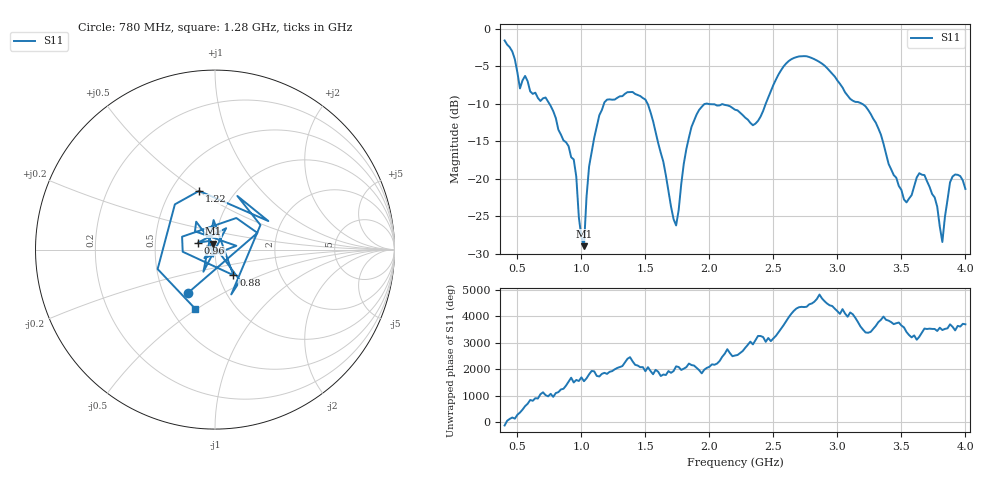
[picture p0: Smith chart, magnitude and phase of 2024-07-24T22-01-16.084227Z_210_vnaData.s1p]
!Created with skrf (http://scikit-rf.org).
# Hz S RI R 50.0
!freq ReS11 ImS11
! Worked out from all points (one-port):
!   181 points, 400 MHz to 4 GHz, reference 50 ohm
!   lowest |S11| = -29.0 dB at 1.02 GHz (marker M1), VSWR 1.07, Z = 48.7 + j3.27 ohm
!   |S11| at or under -10 dB: 1.518 GHz to 1.969 GHz (451.7 MHz wide, 25.9 % of centre); 1.99 GHz to 2.44 GHz (449.9 MHz wide, 20.3 % of centre); 3.193 GHz to end of sweep (the widest 3 of 4)
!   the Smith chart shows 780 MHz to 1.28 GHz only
!   S11 on the Smith chart (normalised r, x): 780 MHz: 0.67, -0.35; 880 MHz: 1.17, -0.34; 960 MHz: 0.82, +0.06; 1.22 GHz: 0.69, +0.51; 1.28 GHz: 0.66, -0.49
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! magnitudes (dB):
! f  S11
! 400 MHz  -1.5
! 520 MHz  -7.9
! 780 MHz  -11.0
! 860 MHz  -14.9
! 880 MHz  -15.1
! 960 MHz  -19.7
! 980 MHz  -25.1
! 1.02 GHz  -29.0
! 1.06 GHz  -18.4
! 1.14 GHz  -11.5
! 1.22 GHz  -9.4
! 1.28 GHz  -9.2
! 1.3 GHz  -9.0
! 1.52 GHz  -10.1
! 1.72 GHz  -25.4
! 1.76 GHz  -24.2
! 1.82 GHz  -16.0
! 1.92 GHz  -10.8
! 2.2 GHz  -10.8
! 2.36 GHz  -12.6
! 2.66 GHz  -3.9
! 3.1 GHz  -9.3
! 3.26 GHz  -11.3
! 3.56 GHz  -22.6
! 3.68 GHz  -19.5
! 3.82 GHz  -28.5
! 3.88 GHz  -20.5
! 4 GHz  -21.4
